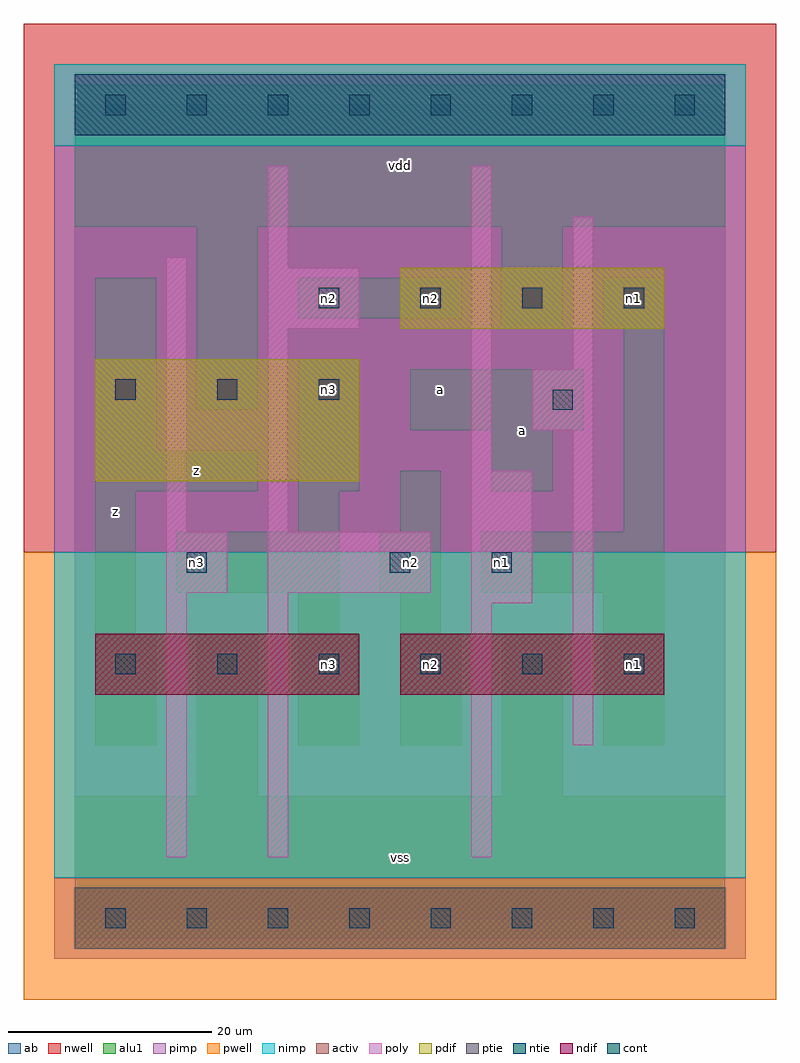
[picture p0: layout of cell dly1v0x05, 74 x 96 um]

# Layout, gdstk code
import gdstk
lib = gdstk.Library(unit=1e-6, precision=1e-09)
def R(c, l, rs):  # rectangles x0, y0, x1, y1
    for r in rs: c.add(gdstk.rectangle(r[:2], r[2:], *l))
def A(c, l, x, y, w, h, nx, ny, dx, dy):  # array of equal rectangles
    R(c, l, [(x+i*dx, y+j*dy, x+i*dx+w, y+j*dy+h) for i in range(nx) for j in range(ny)])
ndif = (3, 0)
pdif = (4, 0)
ntie = (5, 0)
ptie = (6, 0)
cont = (25, 0)
pwell = (41, 0)
nwell = (42, 0)
activ = (43, 0)
pimp = (44, 0)
nimp = (45, 0)
poly = (46, 0)
alu1 = (49, 0)
ab = (63, 0)

dly1v0x05 = lib.new_cell('dly1v0x05')
R(dly1v0x05, ndif, [(2,22,28,28), (32,22,58,28)])
R(dly1v0x05, pdif, [(2,43,28,55), (32,58,58,64)])
R(dly1v0x05, ntie, [(0,77,64,83)])
R(dly1v0x05, ptie, [(0,-3,64,3)])
A(dly1v0x05, cont, 3, -1, 2, 2, 8, 2, 8, 80)
A(dly1v0x05, cont, 4, 24, 2, 2, 6, 1, 10, 0)
A(dly1v0x05, cont, 4, 51, 2, 2, 3, 1, 10, 0)
A(dly1v0x05, cont, 24, 60, 2, 2, 4, 1, 10, 0)
R(dly1v0x05, cont, [(11,34,13,36), (31,34,33,36), (41,34,43,36), (47,50,49,52)])
R(dly1v0x05, pwell, [(-5,-8,69,36)])
R(dly1v0x05, nwell, [(-5,36,69,88)])
R(dly1v0x05, activ, [(0,-3,64,3), (2,22,28,28), (32,22,58,28), (2,43,28,55), (32,58,58,64), (0,77,64,83)])
R(dly1v0x05, pimp, [(-2,-4,66,4), (-2,36,66,76)])
R(dly1v0x05, nimp, [(-2,4,66,36), (-2,76,66,84)])
R(dly1v0x05, poly, [(9,6,11,32), (19,6,21,32), (39,6,41,31), (49,17,51,48), (39,31,45,44), (9,32,15,38), (19,32,35,38), (9,38,11,65), (19,38,21,58), (39,44,41,74), (45,48,51,54), (49,54,51,69), (19,58,28,64), (19,64,21,74)])
R(dly1v0x05, alu1, [(0,-2,64,12), (12,12,18,28), (42,12,48,28), (2,17,8,28), (22,17,28,28), (32,17,38,28), (52,17,58,32), (2,28,6,42), (22,28,26,32), (32,28,36,32), (10,32,26,38), (30,32,36,38), (40,32,58,38), (22,38,26,42), (32,38,36,44), (54,38,58,58), (2,42,18,46), (22,42,28,55), (41,42,47,48), (2,46,8,63), (33,48,50,54), (12,50,18,68), (42,58,48,68), (52,58,58,63), (22,59,38,63), (0,68,64,82)])
R(dly1v0x05, ab, [(0,0,64,80)])
dly1v0x05.add(gdstk.Label('n3', (12,35), layer=49, texttype=0))
dly1v0x05.add(gdstk.Label('n3', (25,25), layer=49, texttype=0))
dly1v0x05.add(gdstk.Label('n3', (25,52), layer=49, texttype=0))
dly1v0x05.add(gdstk.Label('n2', (25,61), layer=49, texttype=0))
dly1v0x05.add(gdstk.Label('n2', (33,35), layer=49, texttype=0))
dly1v0x05.add(gdstk.Label('n2', (35,25), layer=49, texttype=0))
dly1v0x05.add(gdstk.Label('n1', (42,35), layer=49, texttype=0))
dly1v0x05.add(gdstk.Label('n2', (35,61), layer=49, texttype=0))
dly1v0x05.add(gdstk.Label('n1', (55,25), layer=49, texttype=0))
dly1v0x05.add(gdstk.Label('n1', (55,61), layer=49, texttype=0))
dly1v0x05.add(gdstk.Label('z', (12,44), layer=49, texttype=0))
dly1v0x05.add(gdstk.Label('z', (4,40), layer=49, texttype=0))
dly1v0x05.add(gdstk.Label('vss', (32,6), layer=49, texttype=0))
dly1v0x05.add(gdstk.Label('a', (36,52), layer=49, texttype=0))
dly1v0x05.add(gdstk.Label('a', (44,48), layer=49, texttype=0))
dly1v0x05.add(gdstk.Label('vdd', (32,74), layer=49, texttype=0))

lib.write_gds('dly1v0x05.gds')
